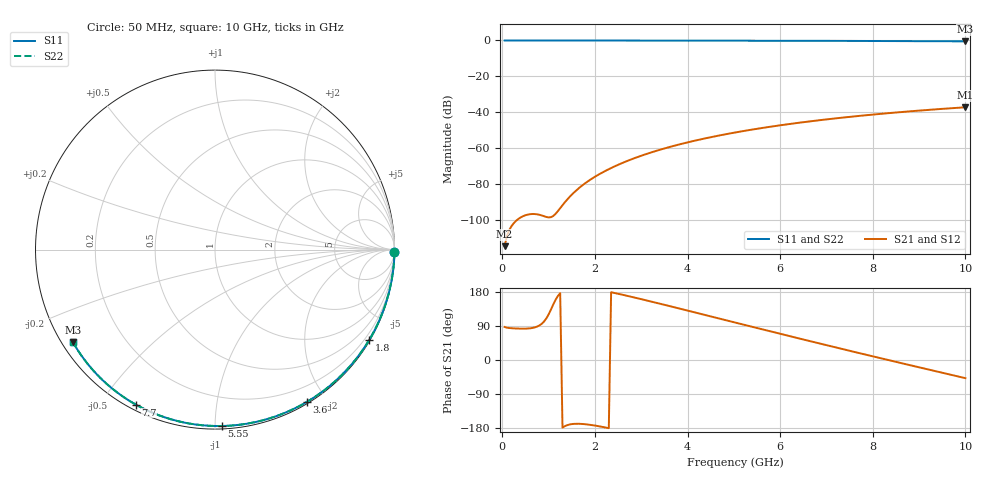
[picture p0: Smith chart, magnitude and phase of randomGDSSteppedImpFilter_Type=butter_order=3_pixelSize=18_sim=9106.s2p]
! freq	dB(S11)	phase(S11)	dB(S12)	phase(S12)
!  dB(S21)	phase(S21)	dB(S22)	phase(S22)
!S-par simulation data
#  GHz  S  DB  R 50
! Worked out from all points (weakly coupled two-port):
!   200 points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, 50 MHz to 10 GHz, reference 50 ohm
!   highest |S21| = -37.29 dB at 10 GHz (marker M1); lowest = -114.8 dB at 50 MHz (marker M2)
!   lowest |S11| = -0.5 dB at 10 GHz (marker M3), VSWR 35.28, Z = 1.54 - j14.9 ohm
!   |S11| at or under -10 dB: nowhere
!   |S22| runs from -0.5 to 0.0 dB; largest |S21 - S12| = 0
!   S11 on the Smith chart (normalised r, x): 50 MHz: open; 1.8 GHz: 0.03, -3.70; 3.6 GHz: 0.02, -1.77; 5.55 GHz: 0.02, -1.04; 7.7 GHz: 0.02, -0.61; 10 GHz: 0.03, -0.30
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0.05  -0.00 -0.9  -114.78 87.2  -114.78 87.2  -0.00 -0.9
0.45  -0.01 -7.7  -98.03 82.6  -98.03 82.6  -0.01 -7.7
0.9  -0.02 -15.3  -98.07 101.4  -98.07 101.4  -0.02 -15.3
1.3  -0.03 -22.0  -91.90 -178.3  -91.90 -178.3  -0.03 -22.0
1.75  -0.04 -29.4  -80.43 -169.0  -80.43 -169.0  -0.04 -29.4
1.8  -0.04 -30.3  -79.47 -169.6  -79.47 -169.6  -0.04 -30.3
1.95  -0.04 -32.7  -76.86 -172.0  -76.86 -172.0  -0.04 -32.7
2.1  -0.04 -35.2  -74.55 -175.1  -74.55 -175.1  -0.04 -35.2
2.3  -0.05 -38.4  -71.81 -179.9  -71.81 -179.9  -0.05 -38.4
2.5  -0.05 -41.7  -69.39 174.8  -69.39 174.8  -0.05 -41.7
2.9  -0.06 -48.1  -65.24 163.5  -65.24 163.5  -0.06 -48.1
3.4  -0.07 -55.9  -61.01 148.7  -61.01 148.7  -0.07 -55.9
3.6  -0.08 -59.0  -59.53 142.6  -59.53 142.6  -0.08 -59.0
4.3  -0.10 -69.6  -55.09 121.2  -55.09 121.2  -0.10 -69.6
5.05  -0.12 -80.7  -51.25 98.2  -51.25 98.2  -0.12 -80.7
5.55  -0.14 -87.8  -49.08 82.9  -49.08 82.9  -0.14 -87.8
6.1  -0.17 -95.5  -46.98 66.2  -46.98 66.2  -0.17 -95.5
6.7  -0.20 -103.7  -44.96 48.1  -44.96 48.1  -0.20 -103.7
7.7  -0.27 -117.0  -42.11 18.4  -42.11 18.4  -0.27 -117.1
8.35  -0.32 -125.5  -40.53 -0.6  -40.53 -0.6  -0.32 -125.5
9.2  -0.40 -136.5  -38.74 -25.1  -38.74 -25.1  -0.40 -136.5
10  -0.49 -146.8  -37.29 -47.9  -37.29 -47.9  -0.49 -146.8
